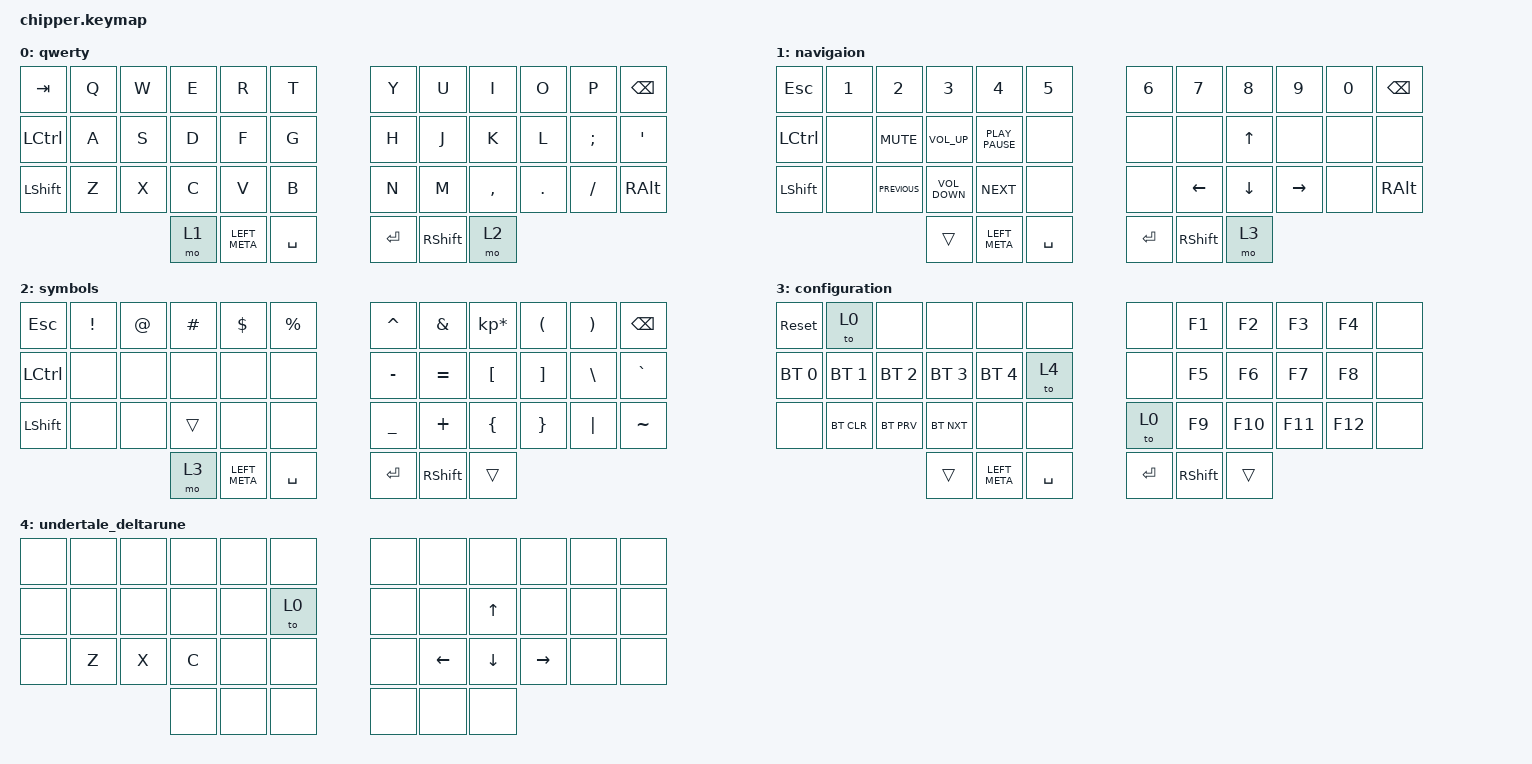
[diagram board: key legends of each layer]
/*
 * Copyright (c) 2020 The ZMK Contributors
 *
 * SPDX-License-Identifier: MIT
 */

#include <behaviors.dtsi>
#include <dt-bindings/zmk/bt.h>
#include <dt-bindings/zmk/keys.h>

/ {
    behaviors {
        new_behavior: new_behavior {
            compatible = "zmk,behavior-hold-tap";
            label = "NEW_BEHAVIOR";
            bindings = <&none>, <&none>;

            #binding-cells = <2>;
            tapping-term-ms = <200>;
            flavor = "balanced";
        };
    };

    keymap {
        compatible = "zmk,keymap";

        qwerty {
            // -----------------------------------------------------------------------------------------
            // |  TAB |  Q  |  W  |  E  |  R  |  T  |   |  Y  |  U   |  I  |  O  |  P  | BKSP |
            // | CTRL |  A  |  S  |  D  |  F  |  G  |   |  H  |  J   |  K  |  L  |  ;  |  '   |
            // | SHFT |  Z  |  X  |  C  |  V  |  B  |   |  N  |  M   |  ,  |  .  |  /  | ESC  |
            //                    | GUI | LWR | SPC |   | ENT | RSE  | ALT |

            bindings = <
&kp TAB    &kp Q  &kp W  &kp E  &kp R          &kp T        &kp Y    &kp U            &kp I      &kp O    &kp P     &kp BSPC
&kp LCTRL  &kp A  &kp S  &kp D  &kp F          &kp G        &kp H    &kp J            &kp K      &kp L    &kp SEMI  &kp SQT
&kp LSHFT  &kp Z  &kp X  &kp C  &kp V          &kp B        &kp N    &kp M            &kp COMMA  &kp DOT  &kp FSLH  &kp RIGHT_ALT
                         &mo 1  &kp LEFT_META  &kp SPACE    &kp RET  &kp RIGHT_SHIFT  &mo 2
            >;
        };

        navigaion {
            // -----------------------------------------------------------------------------------------
            // |  TAB |  1  |  2  |  3  |  4  |  5  |   |  6  |  7  |  8  |  9  |  0  | BKSP |
            // | BTCLR| BT1 | BT2 | BT3 | BT4 | BT5 |   | LFT | DWN |  UP | RGT |     |      |
            // | SHFT |     |     |     |     |     |   |     |     |     |     |     |      |
            //                    | GUI |     | SPC |   | ENT |     | ALT |

            bindings = <
&kp ESCAPE        &kp N1  &kp N2          &kp N3             &kp N4            &kp N5       &kp N6   &kp N7           &kp N8          &kp N9           &kp N0  &kp BSPC
&kp LEFT_CONTROL  &none   &kp K_MUTE      &kp C_VOLUME_UP    &kp K_PLAY_PAUSE  &none        &none    &none            &kp UP_ARROW    &none            &none   &none
&kp LSHFT         &none   &kp C_PREVIOUS  &kp C_VOLUME_DOWN  &kp C_NEXT        &none        &none    &kp LEFT_ARROW   &kp DOWN_ARROW  &kp RIGHT_ARROW  &none   &kp RIGHT_ALT
                                          &trans             &kp LEFT_META     &kp SPACE    &kp RET  &kp RIGHT_SHIFT  &mo 3
            >;
        };

        symbols {
            // -----------------------------------------------------------------------------------------
            // |  TAB |  !  |  @  |  #  |  $  |  %  |   |  ^  |  &  |  *  |  (  |  )  | BKSP |
            // | CTRL |     |     |     |     |     |   |  -  |  =  |  [  |  ]  |  \  |  `   |
            // | SHFT |     |     |     |     |     |   |  _  |  +  |  {  |  }  | "|" |  ~   |
            //                    | GUI |     | SPC |   | ENT |     | ALT |

            bindings = <
&kp ESCAPE  &kp EXCL  &kp AT  &kp HASH  &kp DLLR       &kp PRCNT    &kp CARET  &kp AMPS         &kp KP_ASTERISK  &kp LPAR  &kp RPAR  &kp BSPC
&kp LCTRL   &none     &none   &none     &none          &none        &kp MINUS  &kp EQUAL        &kp LBKT         &kp RBKT  &kp BSLH  &kp GRAVE
&kp LSHFT   &none     &none   &trans    &none          &none        &kp UNDER  &kp PLUS         &kp LBRC         &kp RBRC  &kp PIPE  &kp TILDE
                              &mo 3     &kp LEFT_META  &kp SPACE    &kp RET    &kp RIGHT_SHIFT  &trans
            >;
        };

        configuration {
            bindings = <
&sys_reset    &to 0         &none         &none         &none          &none        &none      &kp F1           &kp F2   &kp F3   &kp F4   &none
&bt BT_SEL 0  &bt BT_SEL 1  &bt BT_SEL 2  &bt BT_SEL 3  &bt BT_SEL 4   &to 4        &none      &kp F5           &kp F6   &kp F7   &kp F8   &none
&none         &bt BT_CLR    &bt BT_PRV    &bt BT_NXT    &none          &none        &to 0      &kp F9           &kp F10  &kp F11  &kp F12  &none
                                          &trans        &kp LEFT_META  &kp SPACE    &kp ENTER  &kp RIGHT_SHIFT  &trans
            >;
        };

        undertale_deltarune {
            bindings = <
&none  &none  &none  &none  &none  &none    &none  &none           &none           &none            &none  &none
&none  &none  &none  &none  &none  &to 0    &none  &none           &kp UP_ARROW    &none            &none  &none
&none  &kp Z  &kp X  &kp C  &none  &none    &none  &kp LEFT_ARROW  &kp DOWN_ARROW  &kp RIGHT_ARROW  &none  &none
                     &none  &none  &none    &none  &none           &none
            >;
        };
    };
};
